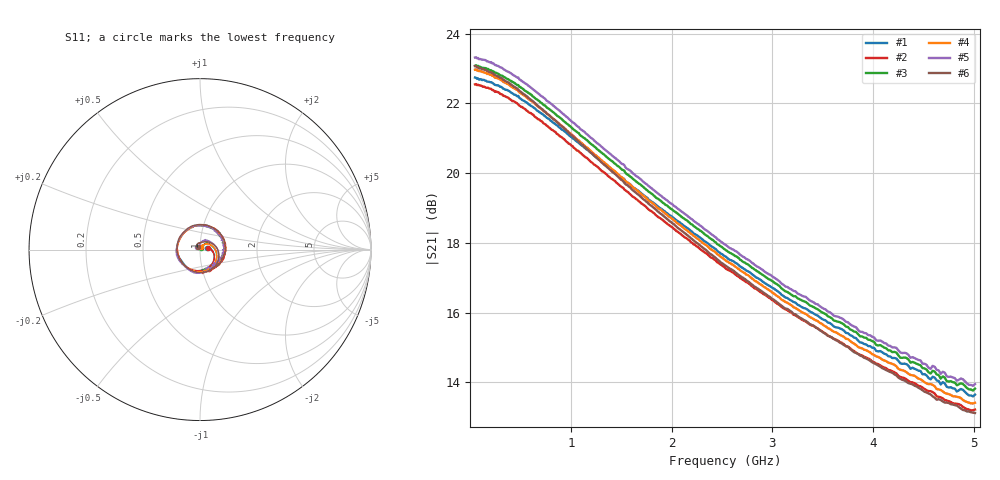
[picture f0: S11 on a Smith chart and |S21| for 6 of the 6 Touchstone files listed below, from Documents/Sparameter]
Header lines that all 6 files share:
! Mini-Circuits
! S2P DATA File Format
! Type: MMIC Amplifier
! Model: ERA-3SM  Reference Data: RDF-1128B
! Note: All S Parameters are in dB deg format
! 401 Frequency points
# MHz S DB R 50
!  FREQ  dB(S11)  PHS(S11)  dB(S21)  PHS(S21)  dB(S12)  PHS(S12)  dB(S22)  PHS(S22)
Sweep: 50 MHz to 5.01 GHz
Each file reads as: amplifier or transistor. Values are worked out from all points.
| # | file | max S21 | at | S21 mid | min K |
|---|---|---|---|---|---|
| 1 | ERA-3SM+___28mA___Minus45degC.S2P | 22.7 dB | 50 MHz | 18.6 dB at 2.05 GHz | 1.04 |
| 2 | ERA-3SM+___28mA___Plus25degC.S2P | 22.6 dB | 60 MHz | 18.3 dB at 2.05 GHz | 1.04 |
| 3 | ERA-3SM+___35mA___Minus45degC.S2P | 23.1 dB | 60 MHz | 18.9 dB at 2.05 GHz | 1.04 |
| 4 | ERA-3SM+___35mA___Plus25degC.S2P | 23.0 dB | 60 MHz | 18.6 dB at 2.05 GHz | 1.03 |
| 5 | ERA-3SM+___42mA___Minus45degC.S2P | 23.3 dB | 60 MHz | 19.0 dB at 2.05 GHz | 1.04 |
| 6 | ERA-3SM+___42mA___Plus85degC.S2P | 23.1 dB | 50 MHz | 18.5 dB at 2.05 GHz | 1.04 |
